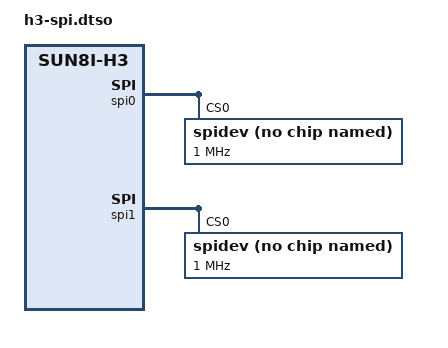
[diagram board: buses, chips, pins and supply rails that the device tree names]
// Enable the spidev interface
/dts-v1/;
/plugin/;

/ {
    compatible = "allwinner,sun8i-h3";

    fragment@0 {
    target-path = "/aliases";
    __overlay__ {
            /* Path to the SPI controller nodes */
            spi0 = "/soc@01c00000/spi@01c68000";
            spi1 = "/soc@01c00000/spi@01c69000";
        };
    };
    fragment@1 {
        target = <&spi0>;
        __overlay__ {
            pinctrl-names = "default";
            pinctrl-0 = <&spi0_pins_a>, <&spi0_cs0_pins_a>;
            status = "okay";
            #address-cells = <1>;
            #size-cells = <0>;
            spidev@0 {
                compatible = "spidev";
                reg = <0x0>;
                spi-max-frequency = <1000000>;
            };
        };
    };
    fragment@2 {
        target = <&spi1>;

        __overlay__ {
            pinctrl-names = "default";
            pinctrl-0 = <&spi1_pins_a>,
                    <&spi1_cs0_pins_a>;
            status = "okay";
            #address-cells = <1>;
            #size-cells = <0>;

            spidev@1{
                compatible = "spidev";
                reg = <0>;
                spi-max-frequency = <1000000>;
            };
        };
    };
};
